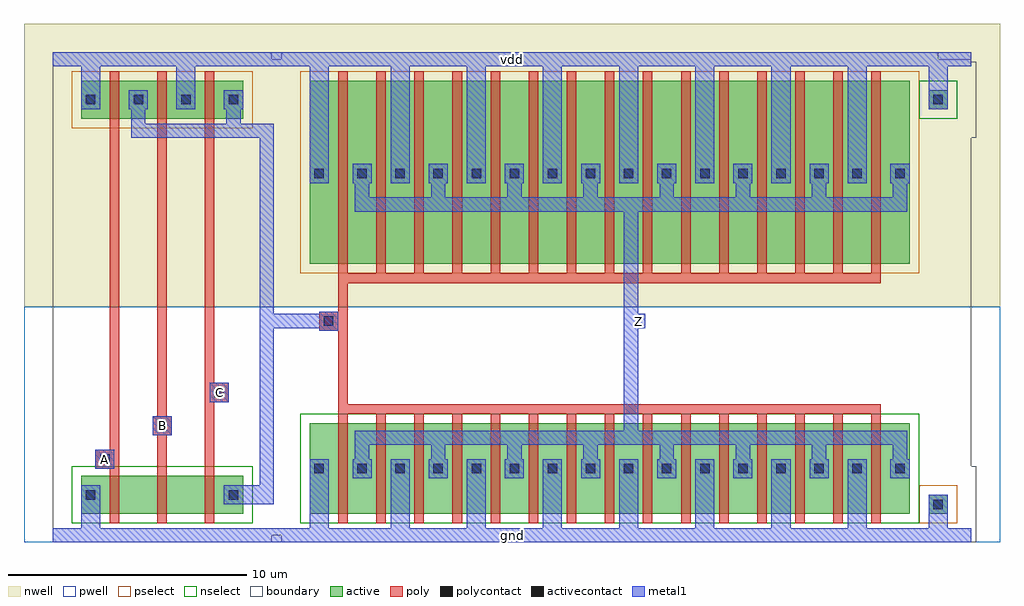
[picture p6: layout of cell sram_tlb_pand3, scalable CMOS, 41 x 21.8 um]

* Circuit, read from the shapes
.subckt sram_tlb_pand3 A B C Z gnd vdd
M1 sram_tlb_pnand3_0_0/sram_tlb_nmos_m1_w1_600_sm1_dactive_3/D A gnd gnd nfet w=1.6u l=0.4u
M2 sram_tlb_pnand3_0_0/sram_tlb_nmos_m1_w1_600_sactive_dactive_4/D B sram_tlb_pnand3_0_0/sram_tlb_nmos_m1_w1_600_sm1_dactive_3/D gnd nfet w=1.6u l=0.4u
M3 sram_tlb_pdriver_2_1/A C sram_tlb_pnand3_0_0/sram_tlb_nmos_m1_w1_600_sactive_dactive_4/D gnd nfet w=1.6u l=0.4u
M4 Z sram_tlb_pdriver_2_1/A gnd gnd nfet w=3.8u l=0.4u m=15
M5 sram_tlb_pdriver_2_1/A A vdd vdd pfet w=1.6u l=0.4u
M6 vdd B sram_tlb_pdriver_2_1/A vdd pfet w=1.6u l=0.4u
M7 sram_tlb_pdriver_2_1/A C vdd vdd pfet w=1.6u l=0.4u
M8 Z sram_tlb_pdriver_2_1/A vdd vdd pfet w=7.7u l=0.4u m=15
.ends

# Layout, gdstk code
import gdstk
lib = gdstk.Library(unit=1e-6, precision=1e-09)
def R(c, l, rs):  # rectangles x0, y0, x1, y1
    for r in rs: c.add(gdstk.rectangle(r[:2], r[2:], *l))
def A(c, l, x, y, w, h, nx, ny, dx, dy):  # array of equal rectangles
    R(c, l, [(x+i*dx, y+j*dy, x+i*dx+w, y+j*dy+h) for i in range(nx) for j in range(ny)])
pwell = (41, 0)
nwell = (42, 0)
active = (43, 0)
pselect = (44, 0)
nselect = (45, 0)
poly = (46, 0)
polycontact = (47, 0)
activecontact = (48, 0)
metal1 = (49, 0)
boundary = (63, 0)

sram_tlb_contact_11 = lib.new_cell('sram_tlb_contact_11')
R(sram_tlb_contact_11, nwell, [(-1.2,-1.2,2,2)])
R(sram_tlb_contact_11, active, [(0,0,0.8,0.8)])
R(sram_tlb_contact_11, pselect, [(-0.4,-0.4,1.2,1.2)])
R(sram_tlb_contact_11, activecontact, [(0.2,0.2,0.6,0.6)])
R(sram_tlb_contact_11, metal1, [(0,0,0.8,0.8)])
R(sram_tlb_contact_11, boundary, [(-1.2,-1.2,2,2)])

sram_tlb_pmos_m1_w1_600_ = lib.new_cell('sram_tlb_pmos_m1_w1_600_sm1_dm1')
R(sram_tlb_pmos_m1_w1_600_, nwell, [(-1.2,-1.2,4,2.8)])
R(sram_tlb_pmos_m1_w1_600_, active, [(0,0,2.8,1.6)])
R(sram_tlb_pmos_m1_w1_600_, pselect, [(-0.4,-0.4,3.2,2)])
R(sram_tlb_pmos_m1_w1_600_, poly, [(1.2,-0.4,1.6,2), (1.2,-0.4,1.6,2)])
R(sram_tlb_pmos_m1_w1_600_, metal1, [(0,0.4,0.8,1.2), (2,0.4,2.8,1.2)])
R(sram_tlb_pmos_m1_w1_600_, boundary, [(-1.2,-1.2,4,2.8)])
sram_tlb_pmos_m1_w1_600_.add(gdstk.Reference(sram_tlb_contact_11, (0,0.4)))
sram_tlb_pmos_m1_w1_600_.add(gdstk.Reference(sram_tlb_contact_11, (2,0.4)))
sram_tlb_pmos_m1_w1_600_.add(gdstk.Label('G', (1.4,0.8), layer=46, texttype=0))
sram_tlb_pmos_m1_w1_600_.add(gdstk.Label('S', (0.4,0.8), layer=49, texttype=0))
sram_tlb_pmos_m1_w1_600_.add(gdstk.Label('D', (2.4,0.8), layer=49, texttype=0))

sram_tlb_contact_10 = lib.new_cell('sram_tlb_contact_10')
R(sram_tlb_contact_10, pwell, [(-1.2,-1.2,2,2)])
R(sram_tlb_contact_10, active, [(0,0,0.8,0.8)])
R(sram_tlb_contact_10, nselect, [(-0.4,-0.4,1.2,1.2)])
R(sram_tlb_contact_10, activecontact, [(0.2,0.2,0.6,0.6)])
R(sram_tlb_contact_10, metal1, [(0,0,0.8,0.8)])
R(sram_tlb_contact_10, boundary, [(-1.2,-1.2,2,2)])

sram_tlb_nmos_m1_w1_600_ = lib.new_cell('sram_tlb_nmos_m1_w1_600_sm1_dactive')
R(sram_tlb_nmos_m1_w1_600_, pwell, [(-1.2,-1.2,4,2.8)])
R(sram_tlb_nmos_m1_w1_600_, active, [(0,0,2.8,1.6), (2.1,0.5,2.7,1.1)])
R(sram_tlb_nmos_m1_w1_600_, nselect, [(-0.4,-0.4,3.2,2)])
R(sram_tlb_nmos_m1_w1_600_, poly, [(1.2,-0.4,1.6,2), (1.2,-0.4,1.6,2)])
R(sram_tlb_nmos_m1_w1_600_, metal1, [(0,0.4,0.8,1.2)])
R(sram_tlb_nmos_m1_w1_600_, boundary, [(-1.2,-1.2,4,2.8)])
sram_tlb_nmos_m1_w1_600_.add(gdstk.Reference(sram_tlb_contact_10, (0,0.4)))
sram_tlb_nmos_m1_w1_600_.add(gdstk.Label('G', (1.4,0.8), layer=46, texttype=0))
sram_tlb_nmos_m1_w1_600_.add(gdstk.Label('S', (0.4,0.8), layer=49, texttype=0))
sram_tlb_nmos_m1_w1_600_.add(gdstk.Label('D', (2.4,0.8), layer=43, texttype=0))

c_sram_tlb_nmos_m1_w1_600_ = lib.new_cell('sram_tlb_nmos_m1_w1_600_sactive_dactive')
R(c_sram_tlb_nmos_m1_w1_600_, pwell, [(-1.2,-1.2,4,2.8)])
R(c_sram_tlb_nmos_m1_w1_600_, active, [(0,0,2.8,1.6), (0.1,0.5,0.7,1.1), (2.1,0.5,2.7,1.1)])
R(c_sram_tlb_nmos_m1_w1_600_, nselect, [(-0.4,-0.4,3.2,2)])
R(c_sram_tlb_nmos_m1_w1_600_, poly, [(1.2,-0.4,1.6,2), (1.2,-0.4,1.6,2)])
R(c_sram_tlb_nmos_m1_w1_600_, boundary, [(-1.2,-1.2,4,2.8)])
c_sram_tlb_nmos_m1_w1_600_.add(gdstk.Label('G', (1.4,0.8), layer=46, texttype=0))
c_sram_tlb_nmos_m1_w1_600_.add(gdstk.Label('S', (0.4,0.8), layer=43, texttype=0))
c_sram_tlb_nmos_m1_w1_600_.add(gdstk.Label('D', (2.4,0.8), layer=43, texttype=0))

c_sram_tlb_nmos_m1_w1_600__ = lib.new_cell('sram_tlb_nmos_m1_w1_600_sactive_dm1')
R(c_sram_tlb_nmos_m1_w1_600__, pwell, [(-1.2,-1.2,4,2.8)])
R(c_sram_tlb_nmos_m1_w1_600__, active, [(0,0,2.8,1.6), (0.1,0.5,0.7,1.1)])
R(c_sram_tlb_nmos_m1_w1_600__, nselect, [(-0.4,-0.4,3.2,2)])
R(c_sram_tlb_nmos_m1_w1_600__, poly, [(1.2,-0.4,1.6,2), (1.2,-0.4,1.6,2)])
R(c_sram_tlb_nmos_m1_w1_600__, metal1, [(2,0.4,2.8,1.2)])
R(c_sram_tlb_nmos_m1_w1_600__, boundary, [(-1.2,-1.2,4,2.8)])
c_sram_tlb_nmos_m1_w1_600__.add(gdstk.Reference(sram_tlb_contact_10, (2,0.4)))
c_sram_tlb_nmos_m1_w1_600__.add(gdstk.Label('G', (1.4,0.8), layer=46, texttype=0))
c_sram_tlb_nmos_m1_w1_600__.add(gdstk.Label('S', (0.4,0.8), layer=43, texttype=0))
c_sram_tlb_nmos_m1_w1_600__.add(gdstk.Label('D', (2.4,0.8), layer=49, texttype=0))

sram_tlb_contact_14 = lib.new_cell('sram_tlb_contact_14')
R(sram_tlb_contact_14, poly, [(0,0,0.8,0.8)])
R(sram_tlb_contact_14, polycontact, [(0.2,0.2,0.6,0.6)])
R(sram_tlb_contact_14, metal1, [(0,0,0.8,0.8)])
R(sram_tlb_contact_14, boundary, [(0,0,0.8,0.8)])

sram_tlb_pnand3_0 = lib.new_cell('sram_tlb_pnand3_0')
R(sram_tlb_pnand3_0, pwell, [(-1.2,-0.3,10.8,9.6)])
R(sram_tlb_pnand3_0, nwell, [(-1.2,9.6,10.8,21.5)])
A(sram_tlb_pnand3_0, poly, 2.4, 2.9, 0.4, 14.2, 3, 1, 2, 0)
R(sram_tlb_pnand3_0, poly, [(2.2,2.8,2.4,3.6), (4.4,4.2,4.6,5), (6.4,5.6,7,6.4)])
R(sram_tlb_pnand3_0, metal1, [(0,-0.3,9.6,0.3), (1.2,-0.3,2,1.3), (7.6,1.3,9,2.1), (8.7,1.3,9.3,17), (1.8,2.8,2.6,3.6), (4.2,4.2,5,5), (6.6,5.6,7.4,6.4), (3.3,16.7,3.9,17.3), (3.6,16.7,9,17.3), (7.3,16.7,7.9,17.3), (7.6,16.7,9,17.3), (8.7,16.7,9.3,17.3), (3.3,17,3.9,18.3), (7.3,17,7.9,18.3), (1.2,17.9,2,20.3), (5.2,17.9,6,20.3), (0,19.7,9.6,20.3)])
R(sram_tlb_pnand3_0, boundary, [(0,0,9.6,20), (0,0,9.6,20)])
sram_tlb_pnand3_0.add(gdstk.Reference(sram_tlb_pmos_m1_w1_600_, (1.2,17.5)))
sram_tlb_pnand3_0.add(gdstk.Reference(sram_tlb_pmos_m1_w1_600_, (3.2,17.5)))
sram_tlb_pnand3_0.add(gdstk.Reference(sram_tlb_pmos_m1_w1_600_, (5.2,17.5)))
sram_tlb_pnand3_0.add(gdstk.Reference(sram_tlb_nmos_m1_w1_600_, (1.2,0.9)))
sram_tlb_pnand3_0.add(gdstk.Reference(c_sram_tlb_nmos_m1_w1_600_, (3.2,0.9)))
sram_tlb_pnand3_0.add(gdstk.Reference(c_sram_tlb_nmos_m1_w1_600__, (5.2,0.9)))
sram_tlb_pnand3_0.add(gdstk.Reference(sram_tlb_contact_14, (1.8,2.8)))
sram_tlb_pnand3_0.add(gdstk.Reference(sram_tlb_contact_14, (4.2,4.2)))
sram_tlb_pnand3_0.add(gdstk.Reference(sram_tlb_contact_14, (6.6,5.6)))
sram_tlb_pnand3_0.add(gdstk.Label('A', (2.2,3.2), layer=49, texttype=0))
sram_tlb_pnand3_0.add(gdstk.Label('B', (4.6,4.6), layer=49, texttype=0))
sram_tlb_pnand3_0.add(gdstk.Label('C', (7,6), layer=49, texttype=0))
sram_tlb_pnand3_0.add(gdstk.Label('Z', (9,17), layer=49, texttype=0))
sram_tlb_pnand3_0.add(gdstk.Label('gnd', (4.8,0), layer=49, texttype=0))
sram_tlb_pnand3_0.add(gdstk.Label('vdd', (4.8,20), layer=49, texttype=0))

sram_tlb_pmos_m15_w7_700 = lib.new_cell('sram_tlb_pmos_m15_w7_700_sm1_dm1_da_p')
R(sram_tlb_pmos_m15_w7_700, nwell, [(-1.2,-1.2,26.4,8.9)])
R(sram_tlb_pmos_m15_w7_700, active, [(0,0,25.2,7.7)])
R(sram_tlb_pmos_m15_w7_700, pselect, [(-0.4,-0.4,25.6,8.1)])
A(sram_tlb_pmos_m15_w7_700, poly, 1.2, -0.4, 0.4, 8.5, 15, 1, 1.6, 0)
R(sram_tlb_pmos_m15_w7_700, poly, [(1.2,-0.8,24,-0.4)])
A(sram_tlb_pmos_m15_w7_700, metal1, 1.9, 2.6, 0.6, 1.2, 7, 1, 3.2, 0)
A(sram_tlb_pmos_m15_w7_700, metal1, 3.4, 3.4, 0.8, 0.8, 7, 1, 3.2, 0)
R(sram_tlb_pmos_m15_w7_700, metal1, [(1.9,2.2,25.1,2.8), (24.5,2.6,25.1,3.8), (0,3.4,0.8,4.2)])
R(sram_tlb_pmos_m15_w7_700, boundary, [(-1.2,-1.2,26.4,8.9)])
sram_tlb_pmos_m15_w7_700.add(gdstk.Reference(sram_tlb_contact_11, (0,3.4)))
sram_tlb_pmos_m15_w7_700.add(gdstk.Reference(sram_tlb_contact_11, (1.8,3.4)))
sram_tlb_pmos_m15_w7_700.add(gdstk.Reference(sram_tlb_contact_11, (3.4,3.4)))
sram_tlb_pmos_m15_w7_700.add(gdstk.Reference(sram_tlb_contact_11, (5,3.4)))
sram_tlb_pmos_m15_w7_700.add(gdstk.Reference(sram_tlb_contact_11, (6.6,3.4)))
sram_tlb_pmos_m15_w7_700.add(gdstk.Reference(sram_tlb_contact_11, (8.2,3.4)))
sram_tlb_pmos_m15_w7_700.add(gdstk.Reference(sram_tlb_contact_11, (9.8,3.4)))
sram_tlb_pmos_m15_w7_700.add(gdstk.Reference(sram_tlb_contact_11, (11.4,3.4)))
sram_tlb_pmos_m15_w7_700.add(gdstk.Reference(sram_tlb_contact_11, (13,3.4)))
sram_tlb_pmos_m15_w7_700.add(gdstk.Reference(sram_tlb_contact_11, (14.6,3.4)))
sram_tlb_pmos_m15_w7_700.add(gdstk.Reference(sram_tlb_contact_11, (16.2,3.4)))
sram_tlb_pmos_m15_w7_700.add(gdstk.Reference(sram_tlb_contact_11, (17.8,3.4)))
sram_tlb_pmos_m15_w7_700.add(gdstk.Reference(sram_tlb_contact_11, (19.4,3.4)))
sram_tlb_pmos_m15_w7_700.add(gdstk.Reference(sram_tlb_contact_11, (21,3.4)))
sram_tlb_pmos_m15_w7_700.add(gdstk.Reference(sram_tlb_contact_11, (22.6,3.4)))
sram_tlb_pmos_m15_w7_700.add(gdstk.Reference(sram_tlb_contact_11, (24.4,3.4)))
sram_tlb_pmos_m15_w7_700.add(gdstk.Label('G', (12.6,-0.6), layer=46, texttype=0))
sram_tlb_pmos_m15_w7_700.add(gdstk.Label('S', (13.4,3.8), layer=49, texttype=0))
sram_tlb_pmos_m15_w7_700.add(gdstk.Label('S', (10.2,3.8), layer=49, texttype=0))
sram_tlb_pmos_m15_w7_700.add(gdstk.Label('S', (7,3.8), layer=49, texttype=0))
sram_tlb_pmos_m15_w7_700.add(gdstk.Label('S', (3.8,3.8), layer=49, texttype=0))
sram_tlb_pmos_m15_w7_700.add(gdstk.Label('S', (23,3.8), layer=49, texttype=0))
sram_tlb_pmos_m15_w7_700.add(gdstk.Label('S', (0.4,3.8), layer=49, texttype=0))
sram_tlb_pmos_m15_w7_700.add(gdstk.Label('S', (16.6,3.8), layer=49, texttype=0))
sram_tlb_pmos_m15_w7_700.add(gdstk.Label('S', (19.8,3.8), layer=49, texttype=0))
sram_tlb_pmos_m15_w7_700.add(gdstk.Label('D', (13.5,2.5), layer=49, texttype=0))

sram_tlb_nmos_m15_w3_800 = lib.new_cell('sram_tlb_nmos_m15_w3_800_sm1_dm1_da_p')
R(sram_tlb_nmos_m15_w3_800, pwell, [(-1.2,-1.2,26.4,5)])
R(sram_tlb_nmos_m15_w3_800, active, [(0,0,25.2,3.8)])
R(sram_tlb_nmos_m15_w3_800, nselect, [(-0.4,-0.4,25.6,4.2)])
A(sram_tlb_nmos_m15_w3_800, poly, 1.2, -0.4, 0.4, 4.6, 15, 1, 1.6, 0)
R(sram_tlb_nmos_m15_w3_800, poly, [(1.2,4.2,24,4.6)])
A(sram_tlb_nmos_m15_w3_800, metal1, 3.4, 1.5, 0.8, 0.8, 7, 1, 3.2, 0)
A(sram_tlb_nmos_m15_w3_800, metal1, 1.9, 1.9, 0.6, 1.3, 7, 1, 3.2, 0)
R(sram_tlb_nmos_m15_w3_800, metal1, [(0,1.5,0.8,2.3), (24.5,1.9,25.1,3.2), (1.9,2.9,25.1,3.5)])
R(sram_tlb_nmos_m15_w3_800, boundary, [(-1.2,-1.2,26.4,5)])
sram_tlb_nmos_m15_w3_800.add(gdstk.Reference(sram_tlb_contact_10, (0,1.5)))
sram_tlb_nmos_m15_w3_800.add(gdstk.Reference(sram_tlb_contact_10, (1.8,1.5)))
sram_tlb_nmos_m15_w3_800.add(gdstk.Reference(sram_tlb_contact_10, (3.4,1.5)))
sram_tlb_nmos_m15_w3_800.add(gdstk.Reference(sram_tlb_contact_10, (5,1.5)))
sram_tlb_nmos_m15_w3_800.add(gdstk.Reference(sram_tlb_contact_10, (6.6,1.5)))
sram_tlb_nmos_m15_w3_800.add(gdstk.Reference(sram_tlb_contact_10, (8.2,1.5)))
sram_tlb_nmos_m15_w3_800.add(gdstk.Reference(sram_tlb_contact_10, (9.8,1.5)))
sram_tlb_nmos_m15_w3_800.add(gdstk.Reference(sram_tlb_contact_10, (11.4,1.5)))
sram_tlb_nmos_m15_w3_800.add(gdstk.Reference(sram_tlb_contact_10, (13,1.5)))
sram_tlb_nmos_m15_w3_800.add(gdstk.Reference(sram_tlb_contact_10, (14.6,1.5)))
sram_tlb_nmos_m15_w3_800.add(gdstk.Reference(sram_tlb_contact_10, (16.2,1.5)))
sram_tlb_nmos_m15_w3_800.add(gdstk.Reference(sram_tlb_contact_10, (17.8,1.5)))
sram_tlb_nmos_m15_w3_800.add(gdstk.Reference(sram_tlb_contact_10, (19.4,1.5)))
sram_tlb_nmos_m15_w3_800.add(gdstk.Reference(sram_tlb_contact_10, (21,1.5)))
sram_tlb_nmos_m15_w3_800.add(gdstk.Reference(sram_tlb_contact_10, (22.6,1.5)))
sram_tlb_nmos_m15_w3_800.add(gdstk.Reference(sram_tlb_contact_10, (24.4,1.5)))
sram_tlb_nmos_m15_w3_800.add(gdstk.Label('G', (12.6,4.4), layer=46, texttype=0))
sram_tlb_nmos_m15_w3_800.add(gdstk.Label('S', (3.8,1.9), layer=49, texttype=0))
sram_tlb_nmos_m15_w3_800.add(gdstk.Label('S', (19.8,1.9), layer=49, texttype=0))
sram_tlb_nmos_m15_w3_800.add(gdstk.Label('S', (13.4,1.9), layer=49, texttype=0))
sram_tlb_nmos_m15_w3_800.add(gdstk.Label('S', (10.2,1.9), layer=49, texttype=0))
sram_tlb_nmos_m15_w3_800.add(gdstk.Label('S', (23,1.9), layer=49, texttype=0))
sram_tlb_nmos_m15_w3_800.add(gdstk.Label('S', (16.6,1.9), layer=49, texttype=0))
sram_tlb_nmos_m15_w3_800.add(gdstk.Label('S', (7,1.9), layer=49, texttype=0))
sram_tlb_nmos_m15_w3_800.add(gdstk.Label('S', (0.4,1.9), layer=49, texttype=0))
sram_tlb_nmos_m15_w3_800.add(gdstk.Label('D', (13.5,3.2), layer=49, texttype=0))

sram_tlb_contact_12 = lib.new_cell('sram_tlb_contact_12')
R(sram_tlb_contact_12, nwell, [(-1.2,-1.2,2,2)])
R(sram_tlb_contact_12, active, [(0,0,0.8,0.8)])
R(sram_tlb_contact_12, nselect, [(-0.4,-0.4,1.2,1.2)])
R(sram_tlb_contact_12, activecontact, [(0.2,0.2,0.6,0.6)])
R(sram_tlb_contact_12, metal1, [(0,0,0.8,0.8)])
R(sram_tlb_contact_12, boundary, [(-1.2,-1.2,2,2)])

sram_tlb_contact_13 = lib.new_cell('sram_tlb_contact_13')
R(sram_tlb_contact_13, pwell, [(-1.2,-1.2,2,2)])
R(sram_tlb_contact_13, active, [(0,0,0.8,0.8)])
R(sram_tlb_contact_13, pselect, [(-0.4,-0.4,1.2,1.2)])
R(sram_tlb_contact_13, activecontact, [(0.2,0.2,0.6,0.6)])
R(sram_tlb_contact_13, metal1, [(0,0,0.8,0.8)])
R(sram_tlb_contact_13, boundary, [(-1.2,-1.2,2,2)])

sram_tlb_pinv_14 = lib.new_cell('sram_tlb_pinv_14')
R(sram_tlb_pinv_14, pwell, [(-1.2,-0.3,30.2,9.6)])
R(sram_tlb_pinv_14, nwell, [(-1.2,9.6,30.2,21.5)])
R(sram_tlb_pinv_14, poly, [(2.4,5.5,2.8,10.6), (2,8.6,2.4,9.4)])
A(sram_tlb_pinv_14, metal1, 4.6, -0.3, 0.8, 2.7, 7, 1, 3.2, 0)
A(sram_tlb_pinv_14, metal1, 4.6, 14.8, 0.8, 5.5, 7, 1, 3.2, 0)
R(sram_tlb_pinv_14, metal1, [(0,-0.3,29,0.3), (1.2,-0.3,2,2.4), (27.2,0,28,1.3), (14.4,3.8,15,14.2), (1.6,8.6,2.4,9.4), (14.7,8.7,15.3,9.3), (1.2,14.8,2,20.3), (27.2,18.3,28,20), (0,19.7,29,20.3)])
R(sram_tlb_pinv_14, boundary, [(0,0,29,20), (0,0,29,20)])
sram_tlb_pinv_14.add(gdstk.Reference(sram_tlb_pmos_m15_w7_700, (1.2,11.4)))
sram_tlb_pinv_14.add(gdstk.Reference(sram_tlb_nmos_m15_w3_800, (1.2,0.9)))
sram_tlb_pinv_14.add(gdstk.Reference(sram_tlb_contact_12, (27.2,17.9)))
sram_tlb_pinv_14.add(gdstk.Reference(sram_tlb_contact_13, (27.2,0.9)))
sram_tlb_pinv_14.add(gdstk.Reference(sram_tlb_contact_14, (1.6,8.6)))
sram_tlb_pinv_14.add(gdstk.Label('A', (2,9), layer=49, texttype=0))
sram_tlb_pinv_14.add(gdstk.Label('Z', (15,9), layer=49, texttype=0))
sram_tlb_pinv_14.add(gdstk.Label('gnd', (14.5,0), layer=49, texttype=0))
sram_tlb_pinv_14.add(gdstk.Label('vdd', (14.5,20), layer=49, texttype=0))

sram_tlb_pdriver_2 = lib.new_cell('sram_tlb_pdriver_2')
R(sram_tlb_pdriver_2, pwell, [(-1.2,-0.3,30.2,9.6)])
R(sram_tlb_pdriver_2, nwell, [(-1.2,9.6,30.2,21.5)])
R(sram_tlb_pdriver_2, metal1, [(0,-0.3,29,0.3), (1.6,8.6,2.4,9.4), (14.7,8.7,15.3,9.3), (0,19.7,29,20.3)])
R(sram_tlb_pdriver_2, boundary, [(0,0,29,20), (0,0,29,20)])
sram_tlb_pdriver_2.add(gdstk.Reference(sram_tlb_pinv_14, (0,0)))
sram_tlb_pdriver_2.add(gdstk.Label('Z', (15,9), layer=49, texttype=0))
sram_tlb_pdriver_2.add(gdstk.Label('A', (2,9), layer=49, texttype=0))
sram_tlb_pdriver_2.add(gdstk.Label('gnd', (14.5,0), layer=49, texttype=0))
sram_tlb_pdriver_2.add(gdstk.Label('vdd', (14.5,20), layer=49, texttype=0))

sram_tlb_pand3 = lib.new_cell('sram_tlb_pand3')
R(sram_tlb_pand3, metal1, [(0,-0.3,38.6,0.3), (1.8,2.8,2.6,3.6), (4.2,4.2,5,5), (6.6,5.6,7.4,6.4), (8.7,8.7,9.3,9.3), (9,8.7,11.6,9.3), (24.3,8.7,24.9,9.3), (8.7,9,9.3,17), (0,19.7,38.6,20.3)])
R(sram_tlb_pand3, boundary, [(0,0,38.6,20), (0,0,38.6,20)])
sram_tlb_pand3.add(gdstk.Reference(sram_tlb_pnand3_0, (0,0)))
sram_tlb_pand3.add(gdstk.Reference(sram_tlb_pdriver_2, (9.6,0)))
sram_tlb_pand3.add(gdstk.Label('Z', (24.6,9), layer=49, texttype=0))
sram_tlb_pand3.add(gdstk.Label('A', (2.2,3.2), layer=49, texttype=0))
sram_tlb_pand3.add(gdstk.Label('B', (4.6,4.6), layer=49, texttype=0))
sram_tlb_pand3.add(gdstk.Label('C', (7,6), layer=49, texttype=0))
sram_tlb_pand3.add(gdstk.Label('gnd', (19.3,0), layer=49, texttype=0))
sram_tlb_pand3.add(gdstk.Label('vdd', (19.3,20), layer=49, texttype=0))

lib.write_gds('sram_tlb_pand3.gds')
